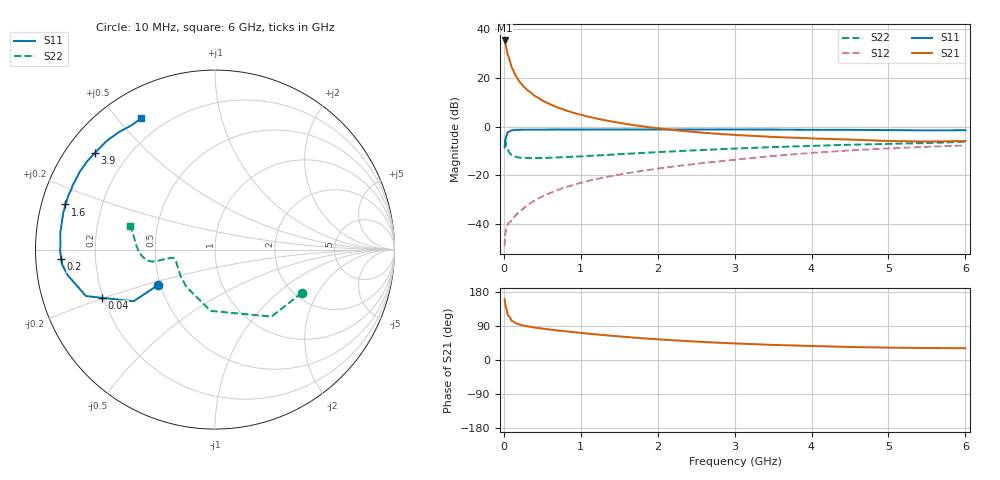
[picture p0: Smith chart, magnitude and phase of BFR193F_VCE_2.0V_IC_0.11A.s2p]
! (c) 2017  Infineon Technologies AG, Munich
! Infineon Technologies  Discrete & RF Semiconductors
! BFR193F
! VCE =  2.0 V,  IC = 0.11 A
! Common Emitter S-Parameters:  Jan 2017
# GHz  S  MA  R  50
!  f  S11  S21  S12  S22
! GHz  MAG  ANG  MAG  ANG  MAG  ANG  MAG  ANG
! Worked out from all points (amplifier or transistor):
!   77 points, 10 MHz to 6 GHz, reference 50 ohm
!   highest |S21| = 35.2 dB at 10 MHz (marker M1)
!   |S21| within 3 dB of that: start of sweep to 32.24 MHz
!   unconditionally stable (mu >= 1): start of sweep to 15.86 MHz; 206.2 MHz to 4.283 GHz; 4.581 GHz to end of sweep
!   at 130 MHz: K = 0.87, MSG = 29.8 dB, |S12| = -37.1 dB
!   at 2.2 GHz: K = 1.13, MAG = 5.3 dB, |S12| = -16.4 dB
!   at 6 GHz: K = 1.03, MAG = -0.1 dB, |S12| = -7.7 dB
!   S11 on the Smith chart (normalised r, x): 10 MHz: 0.49, -0.22; 40 MHz: 0.19, -0.20; 200 MHz: 0.08, -0.03; 1.6 GHz: 0.07, +0.15; 3.9 GHz: 0.09, +0.35; 6 GHz: 0.12, +0.58
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0.01  0.3736 -148.1  57.23 160.8  0.0036 69.8  0.5412 -26.4
0.02  0.5371 -147.6  49.51 144.4  0.0065 57.2  0.4882 -49.9
0.04  0.6852 -156.9  35.38 130.3  0.0089 49.9  0.363 -75.8
0.05  0.7641 -160.2  29.67 118.6  0.0101 47.6  0.3421 -94.0
0.1  0.832 -170.0  16.38 103.7  0.0121 49.3  0.2623 -127.2
0.15  0.8545 -174.2  11.17 97.6  0.0151 56.7  0.2428 -142.2
0.2  0.8583 -176.6  8.417 93.8  0.0182 60.1  0.2329 -149.7
0.25  0.8612 -178.4  6.747 91.2  0.0208 63.6  0.2284 -155.7
0.3  0.8632 -179.7  5.644 89.1  0.0243 67.5  0.2284 -158.8
0.4  0.8617 178.1  4.235 85.6  0.0307 71.0  0.2269 -163.3
0.5  0.8629 176.5  3.403 82.9  0.0373 72.3  0.2271 -165.4
0.6  0.8653 174.9  2.85 80.3  0.0438 73.8  0.2303 -167.2
0.7  0.8678 173.4  2.45 77.9  0.0506 74.8  0.2337 -167.8
0.9  0.8667 170.9  1.92 73.6  0.0639 76.0  0.2414 -169.1
1.1  0.8678 168.6  1.585 69.5  0.0778 76.5  0.2515 -169.1
1.6  0.8714 163.2  1.121 60.6  0.111 76.0  0.2772 -169.6
2.1  0.8694 158.5  0.885 53.4  0.1449 75.2  0.3055 -169.0
3.1  0.8681 149.2  0.661 43.0  0.2173 71.6  0.3594 -169.4
3.9  0.8588 141.2  0.58 37.6  0.281 66.8  0.3975 -173.2
4.1  0.8566 139.1  0.566 36.5  0.296 65.3  0.4064 -174.7
5.1  0.8427 128.2  0.503 32.4  0.3622 57.2  0.4451 174.7
6  0.8398 119.3  0.504 31.1  0.4108 50.6  0.4891 164.6
